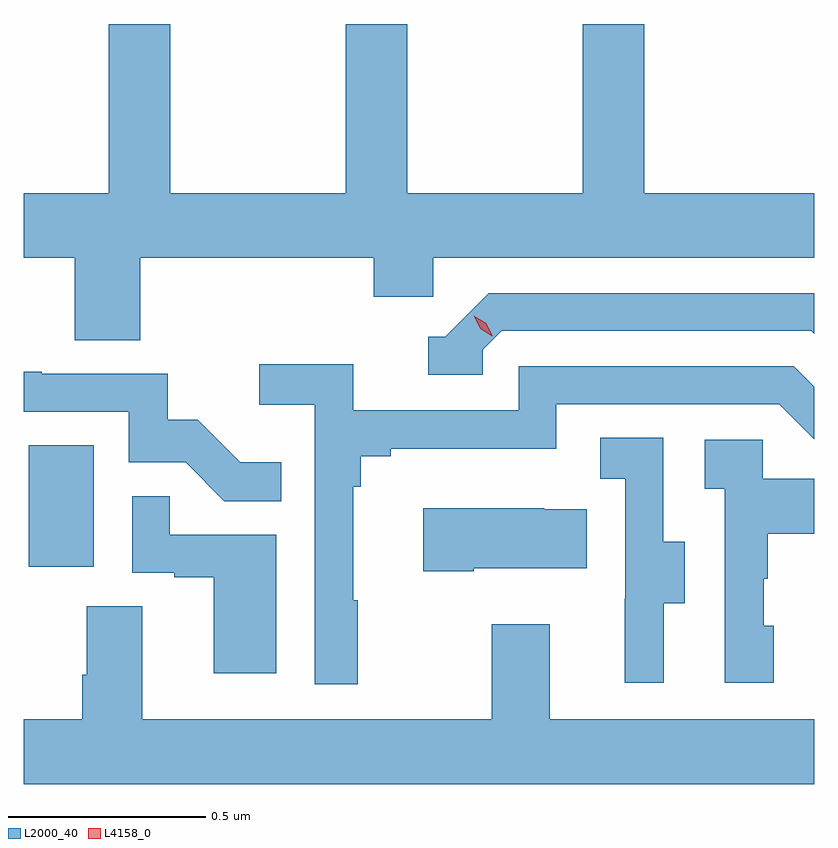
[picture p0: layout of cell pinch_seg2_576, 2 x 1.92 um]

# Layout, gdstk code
import gdstk
lib = gdstk.Library(unit=1e-6, precision=1e-09)
def R(c, l, rs):  # rectangles x0, y0, x1, y1
    for r in rs: c.add(gdstk.rectangle(r[:2], r[2:], *l))
def P(c, l, *ps):  # polygons
    for p in ps: c.add(gdstk.Polygon(p, *l))
L2000_40 = (2000, 40)
L4158_0 = (4158, 0)

pinch_seg2_576 = lib.new_cell('pinch_seg2_576')
R(pinch_seg2_576, L2000_40, [(1125.248,609.558,1125.412,609.865)])
P(pinch_seg2_576, L2000_40, [(1125.53,610.34),(1126.121,610.34),(1126.121,610.242),(1126.272,610.242),(1126.272,610.34),(1127.236,610.34),(1127.236,610.504),(1126.806,610.504),(1126.806,610.932),(1126.651,610.932),(1126.651,610.504),(1126.206,610.504),(1126.206,610.932),(1126.051,610.932),(1126.051,610.504),(1125.606,610.504),(1125.606,610.932),(1125.451,610.932),(1125.451,610.504),(1125.236,610.504),(1125.236,610.34),(1125.365,610.34),(1125.365,610.132),(1125.53,610.132)],
  [(1126.398,610.107),(1126.446,610.155),(1127.229,610.155),(1127.236,610.148),(1127.236,610.251),(1126.413,610.251),(1126.302,610.14),(1126.259,610.14),(1126.259,610.044),(1126.398,610.044)],
  [(1126.081,609.473),(1126.069,609.473),(1126.069,609.761),(1126.088,609.761),(1126.088,609.838),(1126.165,609.838),(1126.165,609.857),(1126.584,609.857),(1126.584,609.969),(1127.148,609.969),(1127.236,609.881),(1127.236,610.014),(1127.185,610.065),(1126.488,610.065),(1126.488,609.954),(1126.07,609.954),(1126.07,610.07),(1125.831,610.07),(1125.831,609.968),(1125.972,609.968),(1125.972,609.261),(1126.081,609.261)],
  [(1125.887,609.823),(1125.783,609.823),(1125.676,609.93),(1125.6,609.93),(1125.6,610.047),(1125.281,610.047),(1125.281,610.052),(1125.236,610.052),(1125.236,609.951),(1125.501,609.951),(1125.501,609.822),(1125.645,609.822),(1125.743,609.724),(1125.887,609.724)],
  [(1126.855,609.466),(1126.909,609.466),(1126.909,609.621),(1126.854,609.621),(1126.854,609.884),(1126.695,609.884),(1126.695,609.781),(1126.758,609.781),(1126.758,609.477),(1126.757,609.477),(1126.757,609.264),(1126.855,609.264)],
  [(1127.134,609.408),(1127.109,609.408),(1127.109,609.527),(1127.119,609.527),(1127.119,609.641),(1127.236,609.641),(1127.236,609.781),(1127.106,609.781),(1127.106,609.879),(1126.959,609.879),(1126.959,609.755),(1127.01,609.755),(1127.01,609.264),(1127.134,609.264)],
  [(1125.874,609.639),(1125.605,609.639),(1125.605,609.737),(1125.51,609.737),(1125.51,609.543),(1125.617,609.543),(1125.617,609.531),(1125.716,609.531),(1125.716,609.288),(1125.874,609.288)],
  [(1126.375,609.554),(1126.661,609.554),(1126.661,609.703),(1126.553,609.703),(1126.553,609.706),(1126.247,609.706),(1126.247,609.547),(1126.375,609.547)],
  [(1127.236,609.172),(1126.567,609.172),(1126.567,609.412),(1126.42,609.412),(1126.42,609.172),(1125.535,609.172),(1125.535,609.458),(1125.395,609.458),(1125.395,609.284),(1125.383,609.284),(1125.383,609.172),(1125.236,609.172),(1125.236,609.008),(1127.236,609.008)])
P(pinch_seg2_576, L4158_0, [(1126.422,610.141),(1126.391,610.16),(1126.375,610.193),(1126.375,610.193),(1126.375,610.193),(1126.406,610.174),(1126.423,610.142),(1126.423,610.141)])

lib.write_gds('pinch_seg2_576.gds')
